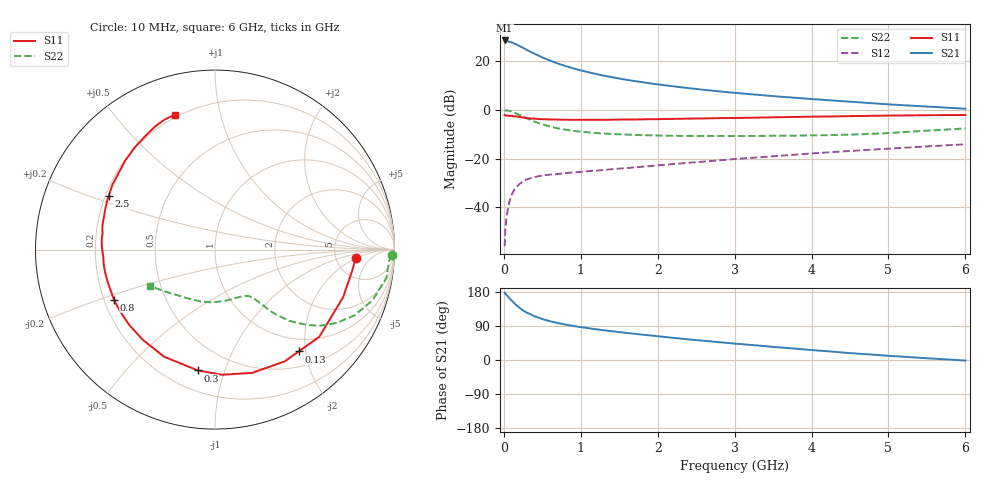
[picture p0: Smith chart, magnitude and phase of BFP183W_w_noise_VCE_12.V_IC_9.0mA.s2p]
! Infineon Technologies  Discrete & RF Semiconductors
! BFP183W
! VCE =  12. V,  IC =  9.0 mA
! Common Emitter S-Parameters:  Jan 2017
# GHz  S  MA  R  50
!  f  S11  S21  S12  S22
! GHz  MAG  ANG  MAG  ANG  MAG  ANG  MAG  ANG
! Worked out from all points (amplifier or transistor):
!   77 points, 10 MHz to 6 GHz, reference 50 ohm
!   highest |S21| = 28.5 dB at 10 MHz (marker M1)
!   |S21| within 3 dB of that: start of sweep to 248.1 MHz
!   unconditionally stable (mu >= 1): 1.812 GHz to 3.924 GHz
!   at 130 MHz: K = 0.15, MSG = 30.2 dB, |S12| = -33.1 dB
!   at 2.2 GHz: K = 1.05, MAG = 14.6 dB, |S12| = -22.3 dB
!   at 6 GHz: K = 0.83, MSG = 7.3 dB, |S12| = -14.1 dB
!   lowest NFmin = 0.90 dB at 450 MHz
!   S11 on the Smith chart (normalised r, x): 10 MHz: 7.91, -1.88; 130 MHz: 0.76, -1.87; 300 MHz: 0.33, -0.81; 800 MHz: 0.24, -0.22; 2.5 GHz: 0.21, +0.23; 6 GHz: 0.19, +0.73
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0.01  0.7863 -3.3  26.48 177.9  0.0016 73.8  0.9869 -1.9
0.02  0.7718 -9.5  26.16 174.8  0.0035 85.6  0.9717 -3.7
0.03  0.7653 -13.1  25.92 172.6  0.0052 80.1  0.9694 -5.6
0.05  0.7615 -20.4  25.55 168.2  0.0087 75.7  0.968 -9.3
0.09  0.7513 -36.0  24.42 159.3  0.0161 70.6  0.9292 -16.1
0.13  0.7345 -50.6  23.09 151.2  0.0221 64.4  0.882 -22.2
0.15  0.7341 -58.0  22.47 147.1  0.025 61.7  0.8586 -25.3
0.2  0.7173 -73.2  20.53 138.3  0.0297 56.5  0.7913 -31.1
0.25  0.6985 -86.8  18.68 130.8  0.0344 51.1  0.726 -35.7
0.3  0.68 -98.1  16.92 124.8  0.0376 47.1  0.6661 -39.2
0.4  0.6607 -115.5  14.1 115.1  0.0419 42.6  0.5715 -43.9
0.5  0.6436 -128.7  11.88 108.1  0.045 38.8  0.5039 -46.5
0.6  0.6361 -138.8  10.24 102.3  0.047 37.7  0.4543 -48.2
0.8  0.6283 -153.7  7.939 93.5  0.0504 37.5  0.3922 -49.8
1.1  0.6252 -168.5  5.899 83.9  0.0552 38.9  0.3448 -51.6
1.5  0.6316 177.7  4.381 73.7  0.0624 41.6  0.3145 -55.1
2.1  0.6476 161.9  3.181 60.7  0.0749 45.9  0.2957 -64.0
2.5  0.663 153.4  2.681 52.6  0.0844 47.8  0.2914 -71.9
3.1  0.6842 142.2  2.165 41.7  0.1005 49.1  0.2905 -84.7
4.1  0.7275 126.6  1.626 24.7  0.1305 48.2  0.3009 -108.3
5.1  0.7652 115.0  1.269 9.8  0.1634 44.9  0.3418 -134.1
6  0.7841 106.5  1.054 -1.5  0.1966 40.2  0.4153 -151.0
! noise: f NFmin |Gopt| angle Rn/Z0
0.45  0.9  0.11  89  0.11
0.9  0.95  0.18  132  0.1
1.9  1.46  0.37  179  0.07
2.4  1.71  0.44  -170  0.09
